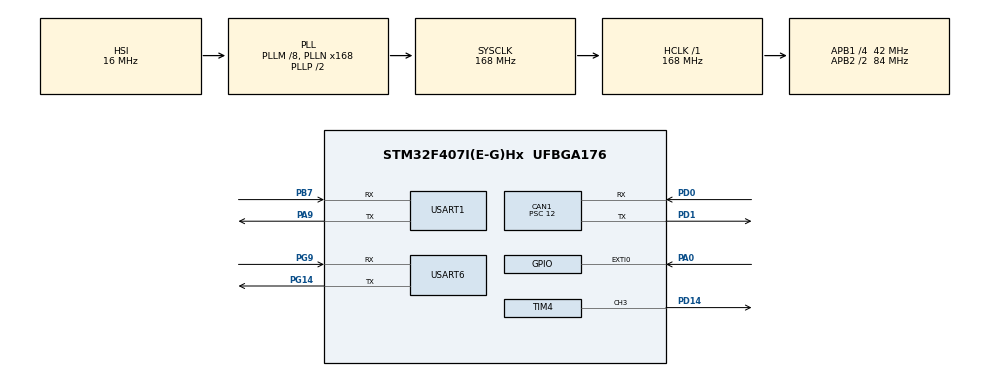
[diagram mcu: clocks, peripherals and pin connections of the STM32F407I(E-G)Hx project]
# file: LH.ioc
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CAN1.BS1=CAN_BS1_2TQ
CAN1.BS2=CAN_BS2_4TQ
CAN1.CalculateBaudRate=500000
CAN1.CalculateTimeBit=2000
CAN1.CalculateTimeQuantum=285.7142857142857
CAN1.Prescaler=12
Mcu.Family=STM32F4
Mcu.Name=STM32F407I(E-G)Hx
Mcu.Package=UFBGA176
NVIC.CAN1_RX0_IRQn=true\:9\:0\:true\:false\:true\:true\:true\:true
NVIC.EXTI0_IRQn=true\:14\:0\:true\:false\:true\:true\:true\:true
NVIC.PriorityGroup=NVIC_PRIORITYGROUP_4
NVIC.USART1_IRQn=true\:3\:0\:true\:false\:true\:true\:true\:true
PA0-WKUP.GPIO_ModeDefaultEXTI=GPIO_MODE_IT_FALLING
PA0-WKUP.Signal=GPXTI0
PA13.Mode=Serial_Wire
PA13.Signal=SYS_JTMS-SWDIO
PA14.Mode=Serial_Wire
PA14.Signal=SYS_JTCK-SWCLK
PA9.Mode=Asynchronous
PA9.Signal=USART1_TX
PB7.Mode=Asynchronous
PB7.Signal=USART1_RX
PD0.Mode=CAN_Activate
PD0.Signal=CAN1_RX
PD1.Mode=CAN_Activate
PD1.Signal=CAN1_TX
PD14.Signal=S_TIM4_CH3
PG14.Mode=Asynchronous
PG14.Signal=USART6_TX
PG9.Mode=Asynchronous
PG9.Signal=USART6_RX
PH0-OSC_IN.Mode=HSE-External-Oscillator
PH0-OSC_IN.Signal=RCC_OSC_IN
PH1-OSC_OUT.Mode=HSE-External-Oscillator
PH1-OSC_OUT.Signal=RCC_OSC_OUT
ProjectManager.HeapSize=0x200
ProjectManager.StackSize=0x400
ProjectManager.TargetToolchain=STM32CubeIDE
RCC.48MHZClocksFreq_Value=84000000
RCC.AHBFreq_Value=168000000
RCC.APB1CLKDivider=RCC_HCLK_DIV4
RCC.APB1Freq_Value=42000000
RCC.APB1TimFreq_Value=84000000
RCC.APB2CLKDivider=RCC_HCLK_DIV2
RCC.APB2Freq_Value=84000000
RCC.APB2TimFreq_Value=168000000
RCC.CortexFreq_Value=168000000
RCC.HCLKFreq_Value=168000000
RCC.HSE_VALUE=25000000
RCC.HSI_VALUE=16000000
RCC.LSE_VALUE=32768
RCC.PLLM=8
RCC.PLLN=168
RCC.SYSCLKFreq_VALUE=168000000
RCC.SYSCLKSource=RCC_SYSCLKSOURCE_PLLCLK
RCC.VCOOutputFreq_Value=336000000
SH.S_TIM4_CH3.0=TIM4_CH3,PWM Generation3 CH3
TIM4.Channel-PWM\ Generation3\ CH3=TIM_CHANNEL_3
USART1.VirtualMode=VM_ASYNC
USART6.VirtualMode=VM_ASYNC
VP_TIM4_VS_ClockSourceINT.Mode=Internal
board=custom

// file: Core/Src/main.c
/* USER CODE BEGIN Header */
/**
  ******************************************************************************
  * @file           : main.c
  * @brief          : Main program body
  ******************************************************************************
  * @attention
  *
  * Copyright (c) 2024 STMicroelectronics.
  * All rights reserved.
  *
  * This software is licensed under terms that can be found in the LICENSE file
  * in the root directory of this software component.
  * If no LICENSE file comes with this software, it is provided AS-IS.
  *
  ******************************************************************************
  */
/* USER CODE END Header */
#include "main.h"
#include "can.h"
#include "tim.h"
#include "usart.h"
#include "gpio.h"

/* USER CODE BEGIN Includes */
#include "Emm_V5.h"
/* USER CODE END Includes */

/* USER CODE BEGIN PM */

extern uint8_t DATA;

int a_x = 1; // max 28000 1为正  v=100
int a_y = 2; // max 25000 1为正  v=100
int a_z = 4; // max 25000 1为正  v=100
int a_a = 5;

int b_x = 6;// max 26000 1为正  v=100
int b_y = 7;// max 26000 1为正  v=100
int b_z = 9;// max 37000 1为正  v=100
int b_a = 10;// max 26000 1为正  v=100

float maxDeep = 22000;
float R = 6000;
float dep_0 = 100;
float caf = 500;

extern uint8_t data;

/* USER CODE END PM */

/* USER CODE BEGIN PV */
int c=0;
int v=0;
/* USER CODE END PV */

void SystemClock_Config(void);

int main(void)
{

  /* MCU Configuration--------------------------------------------------------*/

  /* Reset of all peripherals, Initializes the Flash interface and the Systick. */
  HAL_Init();

  /* Configure the system clock */
  SystemClock_Config();

  /* Initialize all configured peripherals */
  MX_GPIO_Init();
  MX_CAN1_Init();
  MX_USART1_UART_Init();
  MX_USART6_UART_Init();
  MX_TIM4_Init();
  /* USER CODE BEGIN 2 */
  Emm_V5_init();
  HAL_UART_Receive_IT(&huart1,(uint8_t *)&DATA,1);
  Emm_V5_Reset_CurPos_To_Zero(0);
  HAL_Delay(50);
  Emm_V5_Origin_Set_O(0, 1);
  HAL_Delay(50);
  HAL_TIM_Base_Start(&htim4);
  HAL_TIM_PWM_Start(&htim4, TIM_CHANNEL_3);

  /* USER CODE END 2 */

  /* Infinite loop */
  while (1)
  {

  }
}

void SystemClock_Config(void)
{
  RCC_OscInitTypeDef RCC_OscInitStruct = {0};
  RCC_ClkInitTypeDef RCC_ClkInitStruct = {0};

  /** Configure the main internal regulator output voltage
  */
  __HAL_RCC_PWR_CLK_ENABLE();
  __HAL_PWR_VOLTAGESCALING_CONFIG(PWR_REGULATOR_VOLTAGE_SCALE1);

  /** Initializes the RCC Oscillators according to the specified parameters
  * in the RCC_OscInitTypeDef structure.
  */
  RCC_OscInitStruct.OscillatorType = RCC_OSCILLATORTYPE_HSI;
  RCC_OscInitStruct.HSIState = RCC_HSI_ON;
  RCC_OscInitStruct.HSICalibrationValue = RCC_HSICALIBRATION_DEFAULT;
  RCC_OscInitStruct.PLL.PLLState = RCC_PLL_ON;
  RCC_OscInitStruct.PLL.PLLSource = RCC_PLLSOURCE_HSI;
  RCC_OscInitStruct.PLL.PLLM = 8;
  RCC_OscInitStruct.PLL.PLLN = 168;
  RCC_OscInitStruct.PLL.PLLP = RCC_PLLP_DIV2;
  RCC_OscInitStruct.PLL.PLLQ = 4;
  if (HAL_RCC_OscConfig(&RCC_OscInitStruct) != HAL_OK)
  {
    Error_Handler();
  }

  /** Initializes the CPU, AHB and APB buses clocks
  */
  RCC_ClkInitStruct.ClockType = RCC_CLOCKTYPE_HCLK|RCC_CLOCKTYPE_SYSCLK
                              |RCC_CLOCKTYPE_PCLK1|RCC_CLOCKTYPE_PCLK2;
  RCC_ClkInitStruct.SYSCLKSource = RCC_SYSCLKSOURCE_PLLCLK;
  RCC_ClkInitStruct.AHBCLKDivider = RCC_SYSCLK_DIV1;
  RCC_ClkInitStruct.APB1CLKDivider = RCC_HCLK_DIV4;
  RCC_ClkInitStruct.APB2CLKDivider = RCC_HCLK_DIV2;

  if (HAL_RCC_ClockConfig(&RCC_ClkInitStruct, FLASH_LATENCY_5) != HAL_OK)
  {
    Error_Handler();
  }
}

void Error_Handler(void)
{
  __disable_irq();
  while (1)
  {
  }
}
